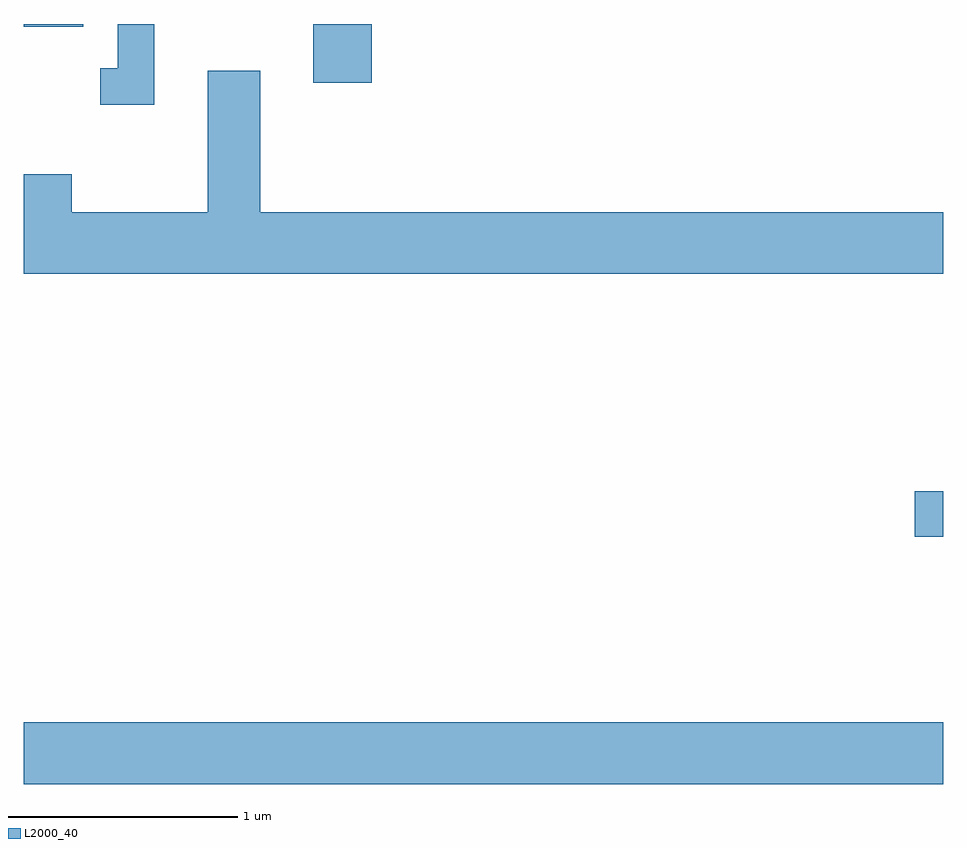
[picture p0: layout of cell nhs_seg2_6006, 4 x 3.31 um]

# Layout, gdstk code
import gdstk
lib = gdstk.Library(unit=1e-6, precision=1e-09)
def R(c, l, rs):  # rectangles x0, y0, x1, y1
    for r in rs: c.add(gdstk.rectangle(r[:2], r[2:], *l))
def P(c, l, *ps):  # polygons
    for p in ps: c.add(gdstk.Polygon(p, *l))
L2000_40 = (2000, 40)

nhs_seg2_6006 = lib.new_cell('nhs_seg2_6006')
R(nhs_seg2_6006, L2000_40, [(361.611,1090.496,365.611,1090.764), (365.486,1091.571,365.611,1091.769), (362.871,1093.546,363.124,1093.802), (361.611,1093.791,361.869,1093.802)])
P(nhs_seg2_6006, L2000_40, [(362.179,1093.802),(362.021,1093.802),(362.021,1093.609),(361.943,1093.609),(361.943,1093.451),(362.179,1093.451)],
  [(365.611,1092.984),(362.639,1092.984),(362.639,1093.599),(362.411,1093.599),(362.411,1092.984),(361.819,1092.984),(361.819,1093.149),(361.611,1093.149),(361.611,1092.716),(365.611,1092.716)])

lib.write_gds('nhs_seg2_6006.gds')
